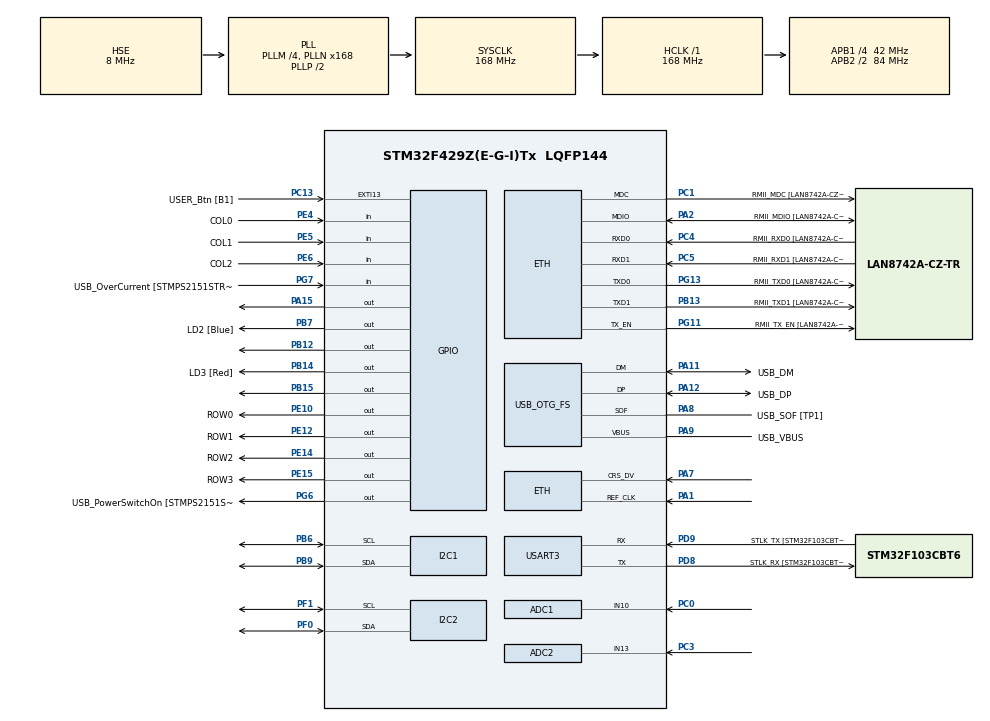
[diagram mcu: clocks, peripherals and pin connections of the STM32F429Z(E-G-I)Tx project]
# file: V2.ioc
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ADC1.Channel-12\#ChannelRegularConversion=ADC_CHANNEL_10
ADC1.ClockPrescaler=ADC_CLOCK_SYNC_PCLK_DIV4
ADC1.ContinuousConvMode=DISABLE
ADC1.DMAContinuousRequests=DISABLE
ADC1.DataAlign=ADC_DATAALIGN_RIGHT
ADC1.DiscontinuousConvMode=DISABLE
ADC1.EOCSelection=ADC_EOC_SINGLE_CONV
ADC1.EnableAnalogWatchDog=false
ADC1.ExternalTrigConv=ADC_SOFTWARE_START
ADC1.ExternalTrigConvEdge=ADC_EXTERNALTRIGCONVEDGE_NONE
ADC1.InjNumberOfConversion=0
ADC1.NbrOfConversion=1
ADC1.NbrOfConversionFlag=1
ADC1.Rank-12\#ChannelRegularConversion=1
ADC1.Resolution=ADC_RESOLUTION_12B
ADC1.SamplingTime-12\#ChannelRegularConversion=ADC_SAMPLETIME_3CYCLES
ADC1.ScanConvMode=DISABLE
ADC1.master=1
ADC2.Channel-0\#ChannelRegularConversion=ADC_CHANNEL_13
ADC2.NbrOfConversionFlag=1
ADC2.Rank-0\#ChannelRegularConversion=1
ADC2.SamplingTime-0\#ChannelRegularConversion=ADC_SAMPLETIME_3CYCLES
ETH.MediaInterface=ETH_MEDIA_INTERFACE_RMII
FREERTOS.INCLUDE_vTaskDelayUntil=1
FREERTOS.Tasks01=defaultTask,0,128,StartDefaultTask,Default,NULL,Dynamic,NULL,NULL;KeyboardListen,-3,128,KeyboardListenCallback,Default,NULL,Dynamic,NULL,NULL
FREERTOS.configTIMER_TASK_PRIORITY=4
FREERTOS.configUSE_TIMERS=1
Mcu.Family=STM32F4
Mcu.Name=STM32F429Z(E-G-I)Tx
Mcu.Package=LQFP144
NVIC.OTG_FS_IRQn=true\:5\:0\:false\:false\:true\:true\:true
NVIC.PriorityGroup=NVIC_PRIORITYGROUP_4
PA1.Mode=RMII
PA1.Signal=ETH_REF_CLK
PA10.GPIO_Label=USB_ID
PA10.Signal=USB_OTG_FS_ID
PA11.GPIO_Label=USB_DM
PA11.Mode=Device_Only
PA11.Signal=USB_OTG_FS_DM
PA12.GPIO_Label=USB_DP
PA12.Mode=Device_Only
PA12.Signal=USB_OTG_FS_DP
PA13.GPIO_Label=TMS
PA13.Mode=Serial_Wire
PA13.Signal=SYS_JTMS-SWDIO
PA14.GPIO_Label=TCK
PA14.Mode=Serial_Wire
PA14.Signal=SYS_JTCK-SWCLK
PA15.Signal=GPIO_Output
PA2.GPIO_Label=RMII_MDIO [LAN8742A-CZ-TR_MDIO]
PA2.Mode=RMII
PA2.Signal=ETH_MDIO
PA7.Mode=RMII
PA7.Signal=ETH_CRS_DV
PA8.GPIO_Label=USB_SOF [TP1]
PA8.Mode=Activate_SOF_FS
PA8.Signal=USB_OTG_FS_SOF
PA9.GPIO_Label=USB_VBUS
PA9.Mode=Activate_VBUS
PA9.Signal=USB_OTG_FS_VBUS
PB12.Signal=GPIO_Output
PB13.GPIO_Label=RMII_TXD1 [LAN8742A-CZ-TR_TXD1]
PB13.Mode=RMII
PB13.Signal=ETH_TXD1
PB14.GPIO_Label=LD3 [Red]
PB14.Signal=GPIO_Output
PB15.Signal=GPIO_Output
PB6.Mode=I2C
PB6.Signal=I2C1_SCL
PB7.GPIO_Label=LD2 [Blue]
PB7.Signal=GPIO_Output
PB9.Mode=I2C
PB9.Signal=I2C1_SDA
PC0.Signal=ADCx_IN10
PC1.GPIO_Label=RMII_MDC [LAN8742A-CZ-TR_MDC]
PC1.Mode=RMII
PC1.Signal=ETH_MDC
PC13.GPIO_Label=USER_Btn [B1]
PC13.Signal=GPXTI13
PC14/OSC32_IN.Mode=LSE-External-Oscillator
PC14/OSC32_IN.Signal=RCC_OSC32_IN
PC15/OSC32_OUT.Mode=LSE-External-Oscillator
PC15/OSC32_OUT.Signal=RCC_OSC32_OUT
PC3.Signal=ADCx_IN13
PC4.GPIO_Label=RMII_RXD0 [LAN8742A-CZ-TR_RXD0]
PC4.Mode=RMII
PC4.Signal=ETH_RXD0
PC5.GPIO_Label=RMII_RXD1 [LAN8742A-CZ-TR_RXD1]
PC5.Mode=RMII
PC5.Signal=ETH_RXD1
PD8.GPIO_Label=STLK_RX [STM32F103CBT6_PA3]
PD8.Mode=Asynchronous
PD8.Signal=USART3_TX
PD9.GPIO_Label=STLK_TX [STM32F103CBT6_PA2]
PD9.Mode=Asynchronous
PD9.Signal=USART3_RX
PE10.GPIO_Label=ROW0
PE10.Signal=GPIO_Output
PE12.GPIO_Label=ROW1
PE12.Signal=GPIO_Output
PE14.GPIO_Label=ROW2
PE14.Signal=GPIO_Output
PE15.GPIO_Label=ROW3
PE15.Signal=GPIO_Output
PE4.GPIO_Label=COL0
PE4.GPIO_PuPd=GPIO_PULLDOWN
PE4.Signal=GPIO_Input
PE5.GPIO_Label=COL1
PE5.GPIO_PuPd=GPIO_PULLDOWN
PE5.Signal=GPIO_Input
PE6.GPIO_Label=COL2
PE6.GPIO_PuPd=GPIO_PULLDOWN
PE6.Signal=GPIO_Input
PF0.Mode=I2C
PF0.Signal=I2C2_SDA
PF1.Mode=I2C
PF1.Signal=I2C2_SCL
PG11.GPIO_Label=RMII_TX_EN [LAN8742A-CZ-TR_TXEN]
PG11.Mode=RMII
PG11.Signal=ETH_TX_EN
PG13.GPIO_Label=RMII_TXD0 [LAN8742A-CZ-TR_TXD0]
PG13.Mode=RMII
PG13.Signal=ETH_TXD0
PG6.GPIO_Label=USB_PowerSwitchOn [STMPS2151STR_EN]
PG6.Signal=GPIO_Output
PG7.GPIO_Label=USB_OverCurrent [STMPS2151STR_FAULT]
PG7.Signal=GPIO_Input
PH0/OSC_IN.GPIO_Label=MCO [STM32F103CBT6_PA8]
PH0/OSC_IN.Mode=HSE-External-Clock-Source
PH0/OSC_IN.Signal=RCC_OSC_IN
PH1/OSC_OUT.Mode=HSE-External-Clock-Source
PH1/OSC_OUT.Signal=RCC_OSC_OUT
ProjectManager.HeapSize=0x200
ProjectManager.StackSize=0x400
ProjectManager.TargetToolchain=SW4STM32
RCC.48MHZClocksFreq_Value=48000000
RCC.AHBFreq_Value=168000000
RCC.APB1CLKDivider=RCC_HCLK_DIV4
RCC.APB1Freq_Value=42000000
RCC.APB1TimFreq_Value=84000000
RCC.APB2CLKDivider=RCC_HCLK_DIV2
RCC.APB2Freq_Value=84000000
RCC.APB2TimCLKDivider=1
RCC.APB2TimFreq_Value=84000000
RCC.CortexFreq_Value=168000000
RCC.HCLKFreq_Value=168000000
RCC.HSE_VALUE=8000000
RCC.HSI_VALUE=16000000
RCC.PLLM=4
RCC.PLLMUL=RCC_PLL_MUL9
RCC.PLLN=168
RCC.PLLQ=7
RCC.PRESCALERUSB=RCC_USBCLKSOURCE_PLL_DIV1_5
RCC.SYSCLKFreq_VALUE=168000000
RCC.SYSCLKSource=RCC_SYSCLKSOURCE_PLLCLK
RCC.SYSCLKSourceVirtual=RCC_SYSCLKSOURCE_PLLCLK
RCC.USBFreq_Value=48000000
RCC.VCOOutputFreq_Value=336000000
SH.ADCx_IN10.0=ADC1_IN10,IN10
SH.ADCx_IN13.0=ADC2_IN13,IN13
USART3.VirtualMode=VM_ASYNC
USB_DEVICE.CLASS_NAME_FS=HID
USB_DEVICE.VirtualMode-HID_FS=Hid
USB_DEVICE.VirtualModeFS=Hid_FS
USB_OTG_FS.VirtualMode=Device_Only
VP_FREERTOS_VS_ENABLE.Mode=Enabled
VP_USB_DEVICE_VS_USB_DEVICE_HID_FS.Mode=HID_FS
board=NUCLEO-F429ZI

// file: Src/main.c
/**
  ******************************************************************************
  * File Name          : main.c
  * Description        : Main program body
  ******************************************************************************
  * This notice applies to any and all portions of this file
  * that are not between comment pairs USER CODE BEGIN and
  * USER CODE END. Other portions of this file, whether
  * inserted by the user or by software development tools
  * are owned by their respective copyright owners.
  *
  * Copyright (c) 2017 STMicroelectronics International N.V.
  * All rights reserved.
  *
  * Redistribution and use in source and binary forms, with or without
  * modification, are permitted, provided that the following conditions are met:
  *
  * 1. Redistribution of source code must retain the above copyright notice,
  *    this list of conditions and the following disclaimer.
  * 2. Redistributions in binary form must reproduce the above copyright notice,
  *    this list of conditions and the following disclaimer in the documentation
  *    and/or other materials provided with the distribution.
  * 3. Neither the name of STMicroelectronics nor the names of other
  *    contributors to this software may be used to endorse or promote products
  *    derived from this software without specific written permission.
  * 4. This software, including modifications and/or derivative works of this
  *    software, must execute solely and exclusively on microcontroller or
  *    microprocessor devices manufactured by or for STMicroelectronics.
  * 5. Redistribution and use of this software other than as permitted under
  *    this license is void and will automatically terminate your rights under
  *    this license.
  *
  * THIS SOFTWARE IS PROVIDED BY STMICROELECTRONICS AND CONTRIBUTORS "AS IS"
  * AND ANY EXPRESS, IMPLIED OR STATUTORY WARRANTIES, INCLUDING, BUT NOT
  * LIMITED TO, THE IMPLIED WARRANTIES OF MERCHANTABILITY, FITNESS FOR A
  * PARTICULAR PURPOSE AND NON-INFRINGEMENT OF THIRD PARTY INTELLECTUAL PROPERTY
  * RIGHTS ARE DISCLAIMED TO THE FULLEST EXTENT PERMITTED BY LAW. IN NO EVENT
  * SHALL STMICROELECTRONICS OR CONTRIBUTORS BE LIABLE FOR ANY DIRECT, INDIRECT,
  * INCIDENTAL, SPECIAL, EXEMPLARY, OR CONSEQUENTIAL DAMAGES (INCLUDING, BUT NOT
  * LIMITED TO, PROCUREMENT OF SUBSTITUTE GOODS OR SERVICES; LOSS OF USE, DATA,
  * OR PROFITS; OR BUSINESS INTERRUPTION) HOWEVER CAUSED AND ON ANY THEORY OF
  * LIABILITY, WHETHER IN CONTRACT, STRICT LIABILITY, OR TORT (INCLUDING
  * NEGLIGENCE OR OTHERWISE) ARISING IN ANY WAY OUT OF THE USE OF THIS SOFTWARE,
  * EVEN IF ADVISED OF THE POSSIBILITY OF SUCH DAMAGE.
  *
  ******************************************************************************
  */
#include "main.h"
#include "stm32f4xx_hal.h"
#include "cmsis_os.h"
#include "usb_device.h"

/* USER CODE BEGIN Includes */
//#include "AT24Cxx_stm32_hal.h"
//layers & init
#include "keymap.h"
#include "macro.h"
#include "scan.h"

//hardware devices
#include "shift.h"
#include "keyboard.h"

//LCD
#include "ssd1306.h"
#include "screen.h"
//LED
#include "visEffect.h"
/* USER CODE END Includes */

ADC_HandleTypeDef hadc1;
ADC_HandleTypeDef hadc2;

ETH_HandleTypeDef heth;

I2C_HandleTypeDef hi2c1;
I2C_HandleTypeDef hi2c2;

UART_HandleTypeDef huart3;

osThreadId defaultTaskHandle;
osThreadId KeyboardListenHandle;

/* USER CODE BEGIN PV */
/* Private variables ---------------------------------------------------------*/
osThreadId ADCListenHandle;
osThreadId CLIListenHandle;

SemaphoreHandle_t USB_send_lock = NULL;

//AT24Cxx_devices eeprom_devs;

key_devices_t* keyboard_devs;

keyboard_states_t current_keyboard_state;
/* USER CODE END PV */

void SystemClock_Config(void);
static void MX_GPIO_Init(void);
static void MX_USART3_UART_Init(void);
static void MX_ETH_Init(void);
static void MX_I2C2_Init(void);
static void MX_ADC1_Init(void);
static void MX_I2C1_Init(void);
static void MX_ADC2_Init(void);
void StartDefaultTask(void const * argument);
void KeyboardListenCallback(void const * argument);

/* USER CODE BEGIN PFP */
/* Private function prototypes -----------------------------------------------*/
void MouseListenCallback(void const * argument);
void CLIListenCallback(void const * argument);
/* USER CODE END PFP */

int main(void)
{

  /* MCU Configuration----------------------------------------------------------*/

  /* Reset of all peripherals, Initializes the Flash interface and the Systick. */
  HAL_Init();

  /* Configure the system clock */
  SystemClock_Config();

  /* Initialize all configured peripherals */
  MX_GPIO_Init();
  MX_USART3_UART_Init();
  MX_ETH_Init();
  MX_I2C2_Init();
  MX_ADC1_Init();
  MX_I2C1_Init();
  MX_ADC2_Init();

  /* USER CODE BEGIN 2 */

  	  while(1){
  		  if(HAL_GPIO_ReadPin(USER_Btn_GPIO_Port, USER_Btn_Pin)){
  			  HAL_GPIO_WritePin(LD2_GPIO_Port, LD2_Pin, GPIO_PIN_SET);
  		  }
  	  }

	keyboard_devices_init(&keyboard_devs);

	GPIO_TypeDef* row_ports[] =
	{ ROW_PORT_0, ROW_PORT_1, ROW_PORT_2, ROW_PORT_3, ROW_PORT_4 };
	uint16_t row_pins[] =
	{ ROW_PIN_0, ROW_PIN_1, ROW_PIN_2, ROW_PIN_3, ROW_PIN_4 };

	keyboard_init(keyboard_devs, row_ports, row_pins);

	HAL_GPIO_WritePin(CAPS_STATUS_PORT, CAPS_STATUS_PIN, GPIO_PIN_SET);
	HAL_GPIO_WritePin(CLI_STATUS_PORT, CLI_STATUS_PIN, GPIO_PIN_RESET);
	HAL_GPIO_WritePin(FUNC_STATUS_PORT, FUNC_STATUS_PIN, GPIO_PIN_SET);

	//TODO STANDARDIZE DEVICE INIT
	shift_array_t shift_array =
			{ .dev_count = 2,
					.ser_in_pin = SHIFT_SER_IN_PIN,	//GPIO PINS FOR SHIFT ARRAY
					.ser_in_port = SHIFT_SER_IN_PORT,
					.ser_in_clock_init = 1,
					.ser_clk_pin = SHIFT_SER_CLK_PIN,
					.ser_clk_port = SHIFT_SER_CLK_PORT,
					.ser_clk_clock_init = 1,
					.latch_pin = SHIFT_LATCH_PIN,
					.latch_port = SHIFT_LATCH_PORT,
					.latch_clock_init = 1,
					.out_ena_pin = SHIFT_OUT_ENA_PIN,
					.out_ena_port = SHIFT_OUT_ENA_PORT,
					.out_ena_clock_init = 1,
					.sr_clr_pin = SHIFT_SER_CLR_PIN,
					.sr_clr_port = SHIFT_SER_CLR_PORT,
					.sr_clr_clock_init = 1,
			};

	shift_init(keyboard_devs, &shift_array);

	layer_list_init(keyboard_devs, &keymap_init0);

	layer_list_append_layer(keyboard_devs->layer_list, &keymap_init1);

	layer_list_append_layer(keyboard_devs->layer_list, &keymap_init2);

	layer_table_init(keyboard_devs->layer_list);

	macro_init(keyboard_devs);

	macro_entry_t test_macro =
	{ .key_code = 0x24, .keypress_string = "pew pew this is a macro and it "
			"can use all DA SYMBOLZZZ !@#$%^*()_+", };

	macro_table_add_entry(keyboard_devs->macro_table, &test_macro);

	SSD1306_device_init_t LCD_init_dev =
	{ .background = White, .width = 128, .height = 64, .port = &hi2c1, .font =
			&Font_11x18, };

	keyboard_devs->LCD = ssd1306_init(&LCD_init_dev);

	HAL_Delay(100);

	LCD_CLEAR;
	LCD_SET_CURSOR(23, 23);
	LCD_WRITE_STRING("sup");
	LCD_UPDATE;

	//CLI
	screen_init_t CLI_test_init =
	{ .rows = 3, .cols = 11, .row_height = 20, .x_offset = 3, .y_offset = 3,
			.LCD_dev = keyboard_devs->LCD, .font = keyboard_devs->LCD->font,
			.message = "123456789123456789123456789", .cursor_period = 750, };

	keyboard_devs->screen = screen_init(&CLI_test_init);

	visInit(keyboard_devs);
	//AT24Cxx_init(&eeprom_devs, 7);

//	volatile uint8_t data = 20;
//	volatile AT24Cxx_ERR_TypeDef ret;
//	ret = AT24Cxx_write_byte( AT24Cxx_get_dev(&eeprom_devs, 0) , &data, 0x11 );
//
//	volatile uint8_t read_data = 0;
//	ret = AT24Cxx_read_byte( AT24Cxx_get_dev(&eeprom_devs, 0), &read_data, 0x11 );
//
//	while(HAL_I2C_Mem_Write(&hi2c2, 0b10101110, 0xB1 ,I2C_MEMADD_SIZE_8BIT
//			, 0x11, 1,1000)!= HAL_OK);
//
//	while(HAL_I2C_Mem_Read(&hi2c2, 0b10101111, 0xB1 ,I2C_MEMADD_SIZE_8BIT
//				, &read_data, 1,1000)!= HAL_OK);

  /* USER CODE END 2 */

  /* Create the thread(s) */
  /* definition and creation of defaultTask */
  osThreadDef(defaultTask, StartDefaultTask, osPriorityNormal, 0, 128);
  defaultTaskHandle = osThreadCreate(osThread(defaultTask), NULL);

  /* definition and creation of KeyboardListen */
  osThreadDef(KeyboardListen, KeyboardListenCallback, osPriorityIdle, 0, 128);
  KeyboardListenHandle = osThreadCreate(osThread(KeyboardListen), NULL);

  /* USER CODE BEGIN RTOS_THREADS */
//  osThreadDef(ADCListen, MouseListenCallback, osPriorityIdle, 0, 128);
//  ADCListenHandle = osThreadCreate(osThread(ADCListen), NULL);
	osThreadDef(CLIListen, CLIListenCallback, osPriorityIdle, 0, 128);
	CLIListenHandle = osThreadCreate(osThread(CLIListen), NULL);
  /* USER CODE END RTOS_THREADS */

  /* Start scheduler */
  osKernelStart();

  /* We should never get here as control is now taken by the scheduler */

  /* Infinite loop */
	while (1)
	{

	}

}

/** System Clock Configuration
*/
void SystemClock_Config(void)
{

  RCC_OscInitTypeDef RCC_OscInitStruct;
  RCC_ClkInitTypeDef RCC_ClkInitStruct;

    /**Configure the main internal regulator output voltage
    */
  __HAL_RCC_PWR_CLK_ENABLE();

  __HAL_PWR_VOLTAGESCALING_CONFIG(PWR_REGULATOR_VOLTAGE_SCALE1);

    /**Initializes the CPU, AHB and APB busses clocks
    */
  RCC_OscInitStruct.OscillatorType = RCC_OSCILLATORTYPE_HSE;
  RCC_OscInitStruct.HSEState = RCC_HSE_BYPASS;
  RCC_OscInitStruct.PLL.PLLState = RCC_PLL_ON;
  RCC_OscInitStruct.PLL.PLLSource = RCC_PLLSOURCE_HSE;
  RCC_OscInitStruct.PLL.PLLM = 4;
  RCC_OscInitStruct.PLL.PLLN = 168;
  RCC_OscInitStruct.PLL.PLLP = RCC_PLLP_DIV2;
  RCC_OscInitStruct.PLL.PLLQ = 7;
  if (HAL_RCC_OscConfig(&RCC_OscInitStruct) != HAL_OK)
  {
    _Error_Handler(__FILE__, __LINE__);
  }

    /**Initializes the CPU, AHB and APB busses clocks
    */
  RCC_ClkInitStruct.ClockType = RCC_CLOCKTYPE_HCLK|RCC_CLOCKTYPE_SYSCLK
                              |RCC_CLOCKTYPE_PCLK1|RCC_CLOCKTYPE_PCLK2;
  RCC_ClkInitStruct.SYSCLKSource = RCC_SYSCLKSOURCE_PLLCLK;
  RCC_ClkInitStruct.AHBCLKDivider = RCC_SYSCLK_DIV1;
  RCC_ClkInitStruct.APB1CLKDivider = RCC_HCLK_DIV4;
  RCC_ClkInitStruct.APB2CLKDivider = RCC_HCLK_DIV2;

  if (HAL_RCC_ClockConfig(&RCC_ClkInitStruct, FLASH_LATENCY_5) != HAL_OK)
  {
    _Error_Handler(__FILE__, __LINE__);
  }

    /**Configure the Systick interrupt time
    */
  HAL_SYSTICK_Config(HAL_RCC_GetHCLKFreq()/1000);

    /**Configure the Systick
    */
  HAL_SYSTICK_CLKSourceConfig(SYSTICK_CLKSOURCE_HCLK);

  /* SysTick_IRQn interrupt configuration */
  HAL_NVIC_SetPriority(SysTick_IRQn, 15, 0);
}

/* ADC1 init function */
static void MX_ADC1_Init(void)
{

  ADC_ChannelConfTypeDef sConfig;

    /**Configure the global features of the ADC (Clock, Resolution, Data Alignment and number of conversion)
    */
  hadc1.Instance = ADC1;
  hadc1.Init.ClockPrescaler = ADC_CLOCK_SYNC_PCLK_DIV4;
  hadc1.Init.Resolution = ADC_RESOLUTION_12B;
  hadc1.Init.ScanConvMode = DISABLE;
  hadc1.Init.ContinuousConvMode = DISABLE;
  hadc1.Init.DiscontinuousConvMode = DISABLE;
  hadc1.Init.ExternalTrigConvEdge = ADC_EXTERNALTRIGCONVEDGE_NONE;
  hadc1.Init.ExternalTrigConv = ADC_SOFTWARE_START;
  hadc1.Init.DataAlign = ADC_DATAALIGN_RIGHT;
  hadc1.Init.NbrOfConversion = 1;
  hadc1.Init.DMAContinuousRequests = DISABLE;
  hadc1.Init.EOCSelection = ADC_EOC_SINGLE_CONV;
  if (HAL_ADC_Init(&hadc1) != HAL_OK)
  {
    _Error_Handler(__FILE__, __LINE__);
  }

    /**Configure for the selected ADC regular channel its corresponding rank in the sequencer and its sample time.
    */
  sConfig.Channel = ADC_CHANNEL_10;
  sConfig.Rank = 1;
  sConfig.SamplingTime = ADC_SAMPLETIME_3CYCLES;
  if (HAL_ADC_ConfigChannel(&hadc1, &sConfig) != HAL_OK)
  {
    _Error_Handler(__FILE__, __LINE__);
  }

}

/* ADC2 init function */
static void MX_ADC2_Init(void)
{

  ADC_ChannelConfTypeDef sConfig;

    /**Configure the global features of the ADC (Clock, Resolution, Data Alignment and number of conversion)
    */
  hadc2.Instance = ADC2;
  hadc2.Init.ClockPrescaler = ADC_CLOCK_SYNC_PCLK_DIV4;
  hadc2.Init.Resolution = ADC_RESOLUTION_12B;
  hadc2.Init.ScanConvMode = DISABLE;
  hadc2.Init.ContinuousConvMode = DISABLE;
  hadc2.Init.DiscontinuousConvMode = DISABLE;
  hadc2.Init.ExternalTrigConvEdge = ADC_EXTERNALTRIGCONVEDGE_NONE;
  hadc2.Init.ExternalTrigConv = ADC_SOFTWARE_START;
  hadc2.Init.DataAlign = ADC_DATAALIGN_RIGHT;
  hadc2.Init.NbrOfConversion = 1;
  hadc2.Init.DMAContinuousRequests = DISABLE;
  hadc2.Init.EOCSelection = ADC_EOC_SINGLE_CONV;
  if (HAL_ADC_Init(&hadc2) != HAL_OK)
  {
    _Error_Handler(__FILE__, __LINE__);
  }

    /**Configure for the selected ADC regular channel its corresponding rank in the sequencer and its sample time.
    */
  sConfig.Channel = ADC_CHANNEL_13;
  sConfig.Rank = 1;
  sConfig.SamplingTime = ADC_SAMPLETIME_3CYCLES;
  if (HAL_ADC_ConfigChannel(&hadc2, &sConfig) != HAL_OK)
  {
    _Error_Handler(__FILE__, __LINE__);
  }

}

/* ETH init function */
static void MX_ETH_Init(void)
{

   uint8_t MACAddr[6] ;

  heth.Instance = ETH;
  heth.Init.AutoNegotiation = ETH_AUTONEGOTIATION_ENABLE;
  heth.Init.PhyAddress = LAN8742A_PHY_ADDRESS;
  MACAddr[0] = 0x00;
  MACAddr[1] = 0x80;
  MACAddr[2] = 0xE1;
  MACAddr[3] = 0x00;
  MACAddr[4] = 0x00;
  MACAddr[5] = 0x00;
  heth.Init.MACAddr = &MACAddr[0];
  heth.Init.RxMode = ETH_RXPOLLING_MODE;
  heth.Init.ChecksumMode = ETH_CHECKSUM_BY_HARDWARE;
  heth.Init.MediaInterface = ETH_MEDIA_INTERFACE_RMII;

  if (HAL_ETH_Init(&heth) != HAL_OK)
  {
    _Error_Handler(__FILE__, __LINE__);
  }

}

/* I2C1 init function */
static void MX_I2C1_Init(void)
{

  hi2c1.Instance = I2C1;
  hi2c1.Init.ClockSpeed = 100000;
  hi2c1.Init.DutyCycle = I2C_DUTYCYCLE_2;
  hi2c1.Init.OwnAddress1 = 0;
  hi2c1.Init.AddressingMode = I2C_ADDRESSINGMODE_7BIT;
  hi2c1.Init.DualAddressMode = I2C_DUALADDRESS_DISABLE;
  hi2c1.Init.OwnAddress2 = 0;
  hi2c1.Init.GeneralCallMode = I2C_GENERALCALL_DISABLE;
  hi2c1.Init.NoStretchMode = I2C_NOSTRETCH_DISABLE;
  if (HAL_I2C_Init(&hi2c1) != HAL_OK)
  {
    _Error_Handler(__FILE__, __LINE__);
  }

}

/* I2C2 init function */
static void MX_I2C2_Init(void)
{

  hi2c2.Instance = I2C2;
  hi2c2.Init.ClockSpeed = 100000;
  hi2c2.Init.DutyCycle = I2C_DUTYCYCLE_2;
  hi2c2.Init.OwnAddress1 = 0;
  hi2c2.Init.AddressingMode = I2C_ADDRESSINGMODE_7BIT;
  hi2c2.Init.DualAddressMode = I2C_DUALADDRESS_DISABLE;
  hi2c2.Init.OwnAddress2 = 0;
  hi2c2.Init.GeneralCallMode = I2C_GENERALCALL_DISABLE;
  hi2c2.Init.NoStretchMode = I2C_NOSTRETCH_DISABLE;
  if (HAL_I2C_Init(&hi2c2) != HAL_OK)
  {
    _Error_Handler(__FILE__, __LINE__);
  }

}

/* USART3 init function */
static void MX_USART3_UART_Init(void)
{

  huart3.Instance = USART3;
  huart3.Init.BaudRate = 115200;
  huart3.Init.WordLength = UART_WORDLENGTH_8B;
  huart3.Init.StopBits = UART_STOPBITS_1;
  huart3.Init.Parity = UART_PARITY_NONE;
  huart3.Init.Mode = UART_MODE_TX_RX;
  huart3.Init.HwFlowCtl = UART_HWCONTROL_NONE;
  huart3.Init.OverSampling = UART_OVERSAMPLING_16;
  if (HAL_UART_Init(&huart3) != HAL_OK)
  {
    _Error_Handler(__FILE__, __LINE__);
  }

}

/** Configure pins as
        * Analog
        * Input
        * Output
        * EVENT_OUT
        * EXTI
*/
static void MX_GPIO_Init(void)
{

  GPIO_InitTypeDef GPIO_InitStruct;

  /* GPIO Ports Clock Enable */
  __HAL_RCC_GPIOE_CLK_ENABLE();
  __HAL_RCC_GPIOC_CLK_ENABLE();
  __HAL_RCC_GPIOF_CLK_ENABLE();
  __HAL_RCC_GPIOH_CLK_ENABLE();
  __HAL_RCC_GPIOA_CLK_ENABLE();
  __HAL_RCC_GPIOB_CLK_ENABLE();
  __HAL_RCC_GPIOD_CLK_ENABLE();
  __HAL_RCC_GPIOG_CLK_ENABLE();

  /*Configure GPIO pin Output Level */
  HAL_GPIO_WritePin(GPIOE, ROW0_Pin|ROW1_Pin|ROW2_Pin|ROW3_Pin, GPIO_PIN_RESET);

  /*Configure GPIO pin Output Level */
  HAL_GPIO_WritePin(GPIOB, GPIO_PIN_12|LD3_Pin|GPIO_PIN_15|LD2_Pin, GPIO_PIN_RESET);

  /*Configure GPIO pin Output Level */
  HAL_GPIO_WritePin(USB_PowerSwitchOn_GPIO_Port, USB_PowerSwitchOn_Pin, GPIO_PIN_RESET);

  /*Configure GPIO pin Output Level */
  HAL_GPIO_WritePin(GPIOA, GPIO_PIN_15, GPIO_PIN_RESET);

  /*Configure GPIO pins : COL0_Pin COL1_Pin COL2_Pin */
  GPIO_InitStruct.Pin = COL0_Pin|COL1_Pin|COL2_Pin;
  GPIO_InitStruct.Mode = GPIO_MODE_INPUT;
  GPIO_InitStruct.Pull = GPIO_PULLDOWN;
  HAL_GPIO_Init(GPIOE, &GPIO_InitStruct);

  /*Configure GPIO pin : USER_Btn_Pin */
  GPIO_InitStruct.Pin = USER_Btn_Pin;
  GPIO_InitStruct.Mode = GPIO_MODE_IT_RISING;
  GPIO_InitStruct.Pull = GPIO_NOPULL;
  HAL_GPIO_Init(USER_Btn_GPIO_Port, &GPIO_InitStruct);

  /*Configure GPIO pins : ROW0_Pin ROW1_Pin ROW2_Pin ROW3_Pin */
  GPIO_InitStruct.Pin = ROW0_Pin|ROW1_Pin|ROW2_Pin|ROW3_Pin;
  GPIO_InitStruct.Mode = GPIO_MODE_OUTPUT_PP;
  GPIO_InitStruct.Pull = GPIO_NOPULL;
  GPIO_InitStruct.Speed = GPIO_SPEED_FREQ_LOW;
  HAL_GPIO_Init(GPIOE, &GPIO_InitStruct);

  /*Configure GPIO pins : PB12 LD3_Pin PB15 LD2_Pin */
  GPIO_InitStruct.Pin = GPIO_PIN_12|LD3_Pin|GPIO_PIN_15|LD2_Pin;
  GPIO_InitStruct.Mode = GPIO_MODE_OUTPUT_PP;
  GPIO_InitStruct.Pull = GPIO_NOPULL;
  GPIO_InitStruct.Speed = GPIO_SPEED_FREQ_LOW;
  HAL_GPIO_Init(GPIOB, &GPIO_InitStruct);

  /*Configure GPIO pin : USB_PowerSwitchOn_Pin */
  GPIO_InitStruct.Pin = USB_PowerSwitchOn_Pin;
  GPIO_InitStruct.Mode = GPIO_MODE_OUTPUT_PP;
  GPIO_InitStruct.Pull = GPIO_NOPULL;
  GPIO_InitStruct.Speed = GPIO_SPEED_FREQ_LOW;
  HAL_GPIO_Init(USB_PowerSwitchOn_GPIO_Port, &GPIO_InitStruct);

  /*Configure GPIO pin : USB_OverCurrent_Pin */
  GPIO_InitStruct.Pin = USB_OverCurrent_Pin;
  GPIO_InitStruct.Mode = GPIO_MODE_INPUT;
  GPIO_InitStruct.Pull = GPIO_NOPULL;
  HAL_GPIO_Init(USB_OverCurrent_GPIO_Port, &GPIO_InitStruct);

  /*Configure GPIO pin : PA15 */
  GPIO_InitStruct.Pin = GPIO_PIN_15;
  GPIO_InitStruct.Mode = GPIO_MODE_OUTPUT_PP;
  GPIO_InitStruct.Pull = GPIO_NOPULL;
  GPIO_InitStruct.Speed = GPIO_SPEED_FREQ_LOW;
  HAL_GPIO_Init(GPIOA, &GPIO_InitStruct);

}

/* USER CODE BEGIN 4 */
/* ADCListenCallback function */
void MouseListenCallback(void const * argument)
{
//	TickType_t xLastWakeTime = xTaskGetTickCount();
//	const TickType_t xPeriod = 5;
//
//	mouse_HID_data_t mouse_data = {
//
//			.mouse_HID = {
//					.id = 3
//			}
//	};
//	mouse_init(&mouse_data);
//  /* Infinite loop */
	for (;;)
	{
//#ifdef ENABLE_MOUSE
//	vTaskDelayUntil(&xLastWakeTime, xPeriod);
//
//	if(ADC_retrieve_values(&mouse_data) == mouse_ok)
//		process_mouse_buf(&mouse_data);
//
//	clear_mouse_report(&mouse_data);
//	process_mouse_flags(&mouse_data);

		//ADC_display_values(&mouse_data.mouse_buf.x, &mouse_data.mouse_buf.y);
//#endif
//	vTaskDelay(xDelay);
	}
}

void CLIListenCallback(void const * argument)
{
	TickType_t xLastWakeTime = xTaskGetTickCount();
	const TickType_t xPeriod = 20;

	for (;;)
	{
		vTaskDelayUntil(&xLastWakeTime, xPeriod);
		keyboard_devs->screen->update(keyboard_devs->screen);
//		keyboard_devs->screen->draw_cursor(keyboard_devs->screen);
	}
}
/* USER CODE END 4 */

/* StartDefaultTask function */
void StartDefaultTask(void const * argument)
{
  /* init code for USB_DEVICE */
  MX_USB_DEVICE_Init();

  /* USER CODE BEGIN 5 */
	/* Infinite loop */
	TickType_t xLastWakeTime = xTaskGetTickCount();
	const TickType_t xPeriod = 20;
	for (;;)
	{
		vTaskDelayUntil(&xLastWakeTime, xPeriod);
		visHandle(keyboard_devs);
	}
  /* USER CODE END 5 */
}

/* KeyboardListenCallback function */
void KeyboardListenCallback(void const * argument)
{
  /* USER CODE BEGIN KeyboardListenCallback */
	TickType_t xLastWakeTime = xTaskGetTickCount();
	const TickType_t xPeriod = 20;

	USB_send_lock = xSemaphoreCreateMutex();

	/* Infinite loop */
	for (;;)
	{
		vTaskDelayUntil(&xLastWakeTime, xPeriod);

		if (scan_key_matrix(keyboard_devs->keyboard,
				keyboard_devs->keyboard_HID, keyboard_devs->shift_array) == 0)
			process_key_buf(keyboard_devs->keyboard_HID,
					keyboard_devs->layer_list);

		clear_keyboard_report(keyboard_devs->keyboard_HID);
		process_keyboard_flags(keyboard_devs->keyboard_HID);
	}
  /* USER CODE END KeyboardListenCallback */
}

void _Error_Handler(char * file, int line)
{
	while (1)
	{
	}
}

/************************ (C) COPYRIGHT STMicroelectronics *****END OF FILE****/
